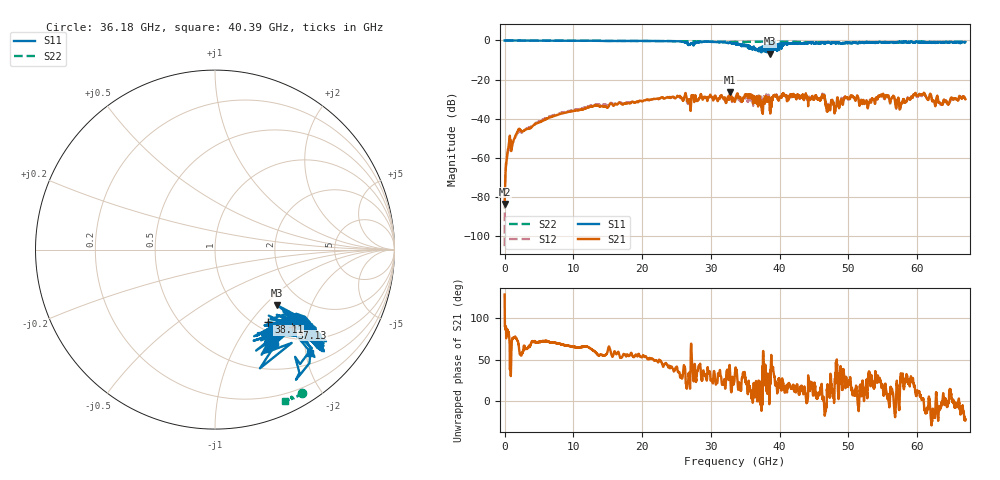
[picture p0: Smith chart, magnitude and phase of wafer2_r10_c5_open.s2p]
!Keysight Technologies,N5227A,US51270248,A.10.65.08
!Date: Tuesday, June 11, 2024 06:09:42
!Correction: S11(Full 2 Port(1,4))
!S41(Full 2 Port(1,4))
!S14(Full 2 Port(1,4))
!S44(Full 2 Port(1,4))
!S2P File: Measurements: S11, S41, S14, S44:
# Hz S  dB  R 50
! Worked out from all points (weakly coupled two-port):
!   3201 points, 10 MHz to 67 GHz, reference 50 ohm
!   highest |S21| = -26.47 dB at 32.81 GHz (marker M1); lowest = -83.5 dB at 10 MHz (marker M2)
!   lowest |S11| = -6.7 dB at 38.63 GHz (marker M3), VSWR 2.73, Z = 74.8 - j58.9 ohm
!   |S11| at or under -10 dB: nowhere
!   |S22| runs from -1.3 to 0.0 dB; largest |S21 - S12| = 0.019
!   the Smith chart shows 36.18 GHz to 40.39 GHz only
!   S11 on the Smith chart (normalised r, x): 36.18 GHz: 0.85, -1.45; 37.13 GHz: 1.22, -1.69; 38.11 GHz: 1.14, -1.23; 40.39 GHz: 0.70, -2.09
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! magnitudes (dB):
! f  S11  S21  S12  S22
! 10 MHz  0.0  -83.5  -105.1  0.0
! 554.3 MHz  0.0  -54.6  -55.5  0.0
! 2.02 GHz  0.0  -45.5  -46.4  0.0
! 11.19 GHz  -0.2  -35.3  -34.8  -0.2
! 22.35 GHz  -0.3  -29.9  -29.9  -0.3
! 32.81 GHz  -1.2  -26.5  -26.8  -0.8
! 33.51 GHz  -1.7  -31.0  -30.4  -0.6
! 36.18 GHz  -4.1  -31.0  -31.2  -0.6
! 37.13 GHz  -4.3  -31.8  -28.5  -0.6
! 38.11 GHz  -6.0  -29.7  -28.0  -0.6
! 38.63 GHz  -6.7  -37.3  -30.8  -0.6
! 40.39 GHz  -2.1  -28.3  -27.8  -0.7
! 44.68 GHz  -1.1  -28.7  -28.9  -0.8
! 46.27 GHz  -0.9  -29.0  -27.9  -1.0
! 47.05 GHz  -0.8  -33.3  -32.7  -1.2
! 50.44 GHz  -1.4  -28.6  -29.0  -1.0
! 52.64 GHz  -0.8  -30.7  -30.5  -1.2
! 55.84 GHz  -1.0  -28.2  -28.4  -1.0
! 57.66 GHz  -0.7  -32.2  -32.6  -1.0
! 59.71 GHz  -0.9  -27.1  -27.1  -0.6
! 63.4 GHz  -0.8  -32.4  -32.6  -0.8
! 67 GHz  -0.8  -30.0  -29.6  -0.6
